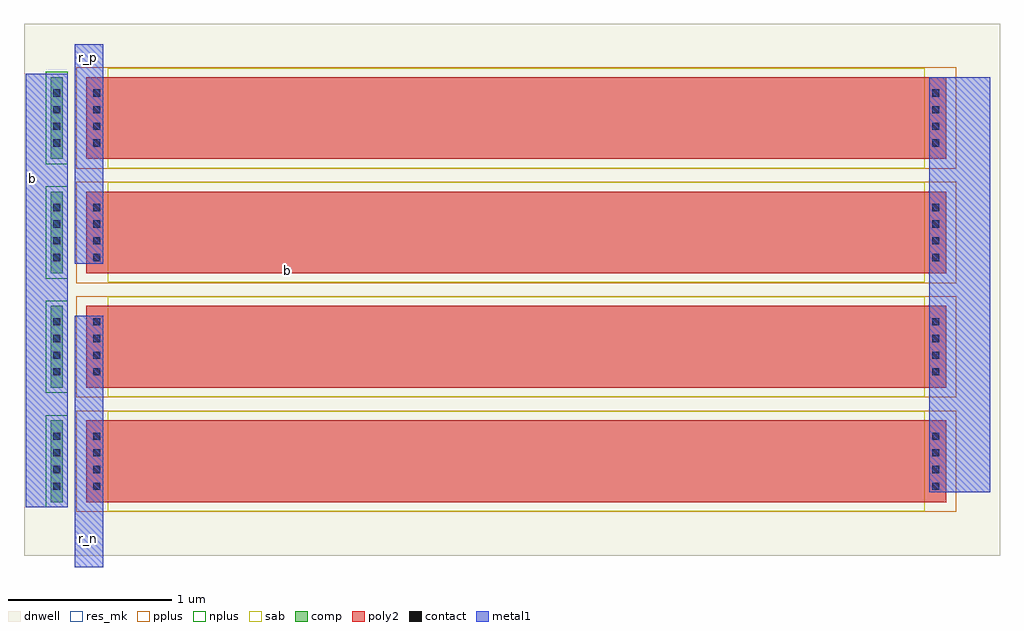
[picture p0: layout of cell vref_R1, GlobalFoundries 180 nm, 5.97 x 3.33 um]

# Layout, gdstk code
import gdstk
lib = gdstk.Library(unit=1e-6, precision=1e-09)
def R(c, l, rs):  # rectangles x0, y0, x1, y1
    for r in rs: c.add(gdstk.rectangle(r[:2], r[2:], *l))
def A(c, l, x, y, w, h, nx, ny, dx, dy):  # array of equal rectangles
    R(c, l, [(x+i*dx, y+j*dy, x+i*dx+w, y+j*dy+h) for i in range(nx) for j in range(ny)])
def P(c, l, *ps):  # polygons
    for p in ps: c.add(gdstk.Polygon(p, *l))
dnwell = (12, 0)
comp = (22, 0)
poly2 = (30, 0)
pplus = (31, 0)
nplus = (32, 0)
contact = (33, 0)
metal1 = (34, 0)
sab = (49, 0)
res_mk = (110, 5)

ppolyf_u_resistor = lib.new_cell('ppolyf_u_resistor')
A(ppolyf_u_resistor, dnwell, -0.512, -0.328, 5.972, 1.156, 1, 4, 0, 0.7)
A(ppolyf_u_resistor, comp, -0.348, 0, 0.072, 0.5, 1, 4, 0, 0.7)
A(ppolyf_u_resistor, poly2, -0.132, 0, 5.264, 0.5, 1, 4, 0, 0.7)
A(ppolyf_u_resistor, pplus, -0.192, -0.06, 5.384, 0.62, 1, 4, 0, 0.7)
A(ppolyf_u_resistor, nplus, -0.38, -0.032, 0.136, 0.564, 1, 4, 0, 0.7)
A(ppolyf_u_resistor, contact, -0.334, 0.075, 0.044, 0.044, 1, 4, 0, 0.102)
A(ppolyf_u_resistor, contact, -0.088, 0.075, 0.044, 0.044, 1, 4, 0, 0.102)
A(ppolyf_u_resistor, contact, 5.044, 0.075, 0.044, 0.044, 1, 4, 0, 0.102)
A(ppolyf_u_resistor, contact, -0.334, 0.775, 0.044, 0.044, 1, 4, 0, 0.102)
A(ppolyf_u_resistor, contact, -0.088, 0.775, 0.044, 0.044, 1, 4, 0, 0.102)
A(ppolyf_u_resistor, contact, 5.044, 0.775, 0.044, 0.044, 1, 4, 0, 0.102)
A(ppolyf_u_resistor, contact, -0.334, 1.475, 0.044, 0.044, 1, 4, 0, 0.102)
A(ppolyf_u_resistor, contact, -0.088, 1.475, 0.044, 0.044, 1, 4, 0, 0.102)
A(ppolyf_u_resistor, contact, 5.044, 1.475, 0.044, 0.044, 1, 4, 0, 0.102)
A(ppolyf_u_resistor, contact, -0.334, 2.175, 0.044, 0.044, 1, 4, 0, 0.102)
A(ppolyf_u_resistor, contact, -0.088, 2.175, 0.044, 0.044, 1, 4, 0, 0.102)
A(ppolyf_u_resistor, contact, 5.044, 2.175, 0.044, 0.044, 1, 4, 0, 0.102)
A(ppolyf_u_resistor, metal1, -0.35, 0.059, 0.076, 0.382, 1, 4, 0, 0.7)
A(ppolyf_u_resistor, metal1, -0.104, 0.059, 0.076, 0.382, 1, 4, 0, 0.7)
A(ppolyf_u_resistor, metal1, 5.028, 0.059, 0.076, 0.382, 1, 4, 0, 0.7)
A(ppolyf_u_resistor, sab, 0, -0.056, 5, 0.612, 1, 4, 0, 0.7)
A(ppolyf_u_resistor, res_mk, 0, 0, 5, 0.5, 1, 4, 0, 0.7)

vref_r1 = lib.new_cell('vref_R1')
R(vref_r1, metal1, [(-0.2,-0.4,-0.028,1.141), (-0.5,-0.032,-0.244,2.62), (5.028,0.059,5.4,2.6), (-0.2,1.459,-0.028,2.8)])
P(vref_r1, metal1, [(-0.2,-0.2),(-0.2,-0.2),(-0.2,-0.2),(-0.2,-0.2)],
  [(5.32,-0.032),(5.32,-0.032),(5.456,-0.032),(5.456,-0.032)])
vref_r1.add(gdstk.Reference(ppolyf_u_resistor, (0,0)))
vref_r1.add(gdstk.Label('b', (-0.46,1.98), layer=34, texttype=10))
vref_r1.add(gdstk.Label('r_p', (-0.12,2.72), layer=34, texttype=10))
vref_r1.add(gdstk.Label('r_n', (-0.12,-0.22), layer=34, texttype=10))
vref_r1.add(gdstk.Label('r_n', (-0.12,-0.22), layer=34, texttype=10))
vref_r1.add(gdstk.Label('b', (1.1,1.42), layer=34, texttype=10))

lib.write_gds('vref_R1.gds')
